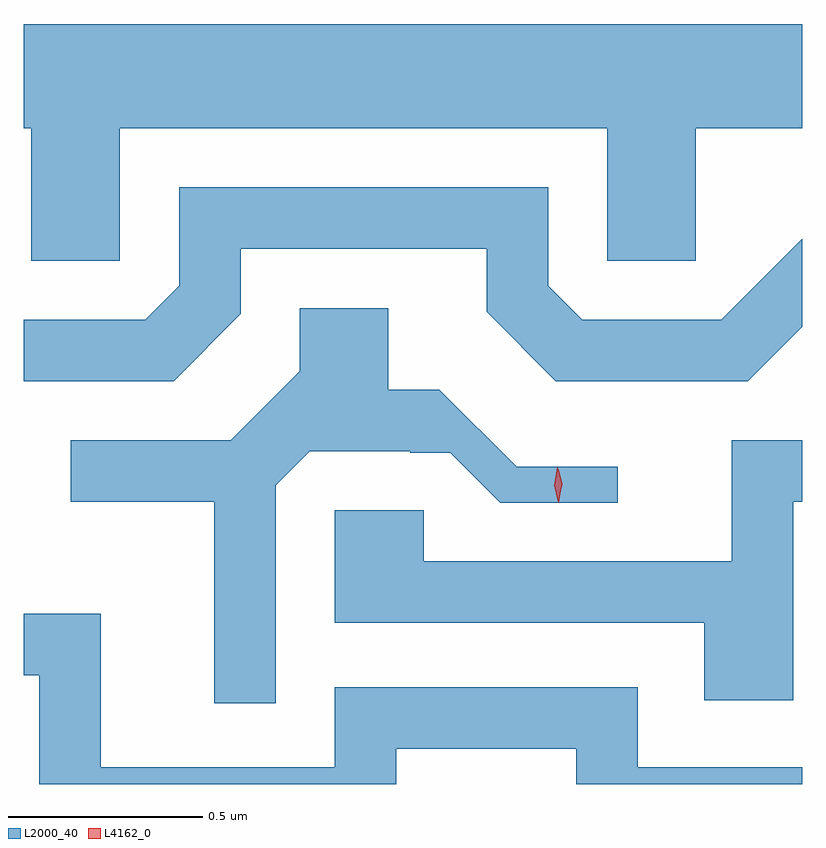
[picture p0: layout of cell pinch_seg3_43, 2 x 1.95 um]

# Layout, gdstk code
import gdstk
lib = gdstk.Library(unit=1e-6, precision=1e-09)
def P(c, l, *ps):  # polygons
    for p in ps: c.add(gdstk.Polygon(p, *l))
L2000_40 = (2000, 40)
L4162_0 = (4162, 0)

pinch_seg3_43 = lib.new_cell('pinch_seg3_43')
P(pinch_seg3_43, L2000_40, [(1746.409,1123.796),(1747.661,1123.796),(1747.661,1123.456),(1747.889,1123.456),(1747.889,1123.796),(1748.162,1123.796),(1748.162,1124.064),(1746.162,1124.064),(1746.162,1123.796),(1746.181,1123.796),(1746.181,1123.456),(1746.409,1123.456)],
  [(1746.719,1123.319),(1746.719,1123.486),(1747.351,1123.486),(1747.351,1123.324),(1747.529,1123.146),(1748.022,1123.146),(1748.162,1123.286),(1748.162,1123.512),(1747.954,1123.304),(1747.597,1123.304),(1747.509,1123.392),(1747.509,1123.644),(1746.561,1123.644),(1746.561,1123.392),(1746.474,1123.304),(1746.162,1123.304),(1746.162,1123.146),(1746.547,1123.146)],
  [(1746.809,1122.879),(1746.897,1122.966),(1747.155,1122.966),(1747.155,1122.962),(1747.258,1122.962),(1747.386,1122.834),(1747.688,1122.834),(1747.688,1122.926),(1747.428,1122.926),(1747.229,1123.124),(1747.099,1123.124),(1747.099,1123.334),(1746.871,1123.334),(1746.871,1123.172),(1746.694,1122.994),(1746.283,1122.994),(1746.283,1122.836),(1746.651,1122.836),(1746.651,1122.318),(1746.809,1122.318)],
  [(1748.139,1122.836),(1748.162,1122.836),(1748.162,1122.994),(1747.981,1122.994),(1747.981,1122.684),(1747.189,1122.684),(1747.189,1122.814),(1746.961,1122.814),(1746.961,1122.526),(1747.911,1122.526),(1747.911,1122.326),(1748.139,1122.326)],
  [(1747.119,1122.201),(1747.581,1122.201),(1747.581,1122.111),(1748.162,1122.111),(1748.162,1122.154),(1747.739,1122.154),(1747.739,1122.359),(1746.961,1122.359),(1746.961,1122.154),(1746.359,1122.154),(1746.359,1122.549),(1746.162,1122.549),(1746.162,1122.391),(1746.201,1122.391),(1746.201,1122.111),(1747.119,1122.111)])
P(pinch_seg3_43, L4162_0, [(1747.535,1122.834),(1747.535,1122.835),(1747.525,1122.879),(1747.533,1122.924),(1747.534,1122.925),(1747.534,1122.924),(1747.544,1122.88),(1747.536,1122.835)],
  [(1747.536,1122.844),(1747.536,1122.844),(1747.526,1122.881),(1747.536,1122.918),(1747.536,1122.919),(1747.537,1122.918),(1747.546,1122.881),(1747.537,1122.844)])

lib.write_gds('pinch_seg3_43.gds')
